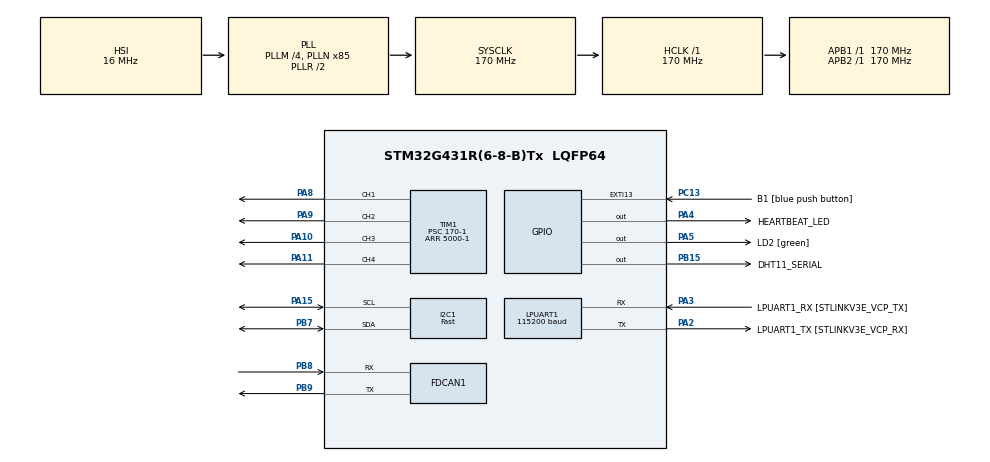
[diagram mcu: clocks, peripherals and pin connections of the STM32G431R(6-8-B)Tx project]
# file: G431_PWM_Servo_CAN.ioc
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FDCAN1.AutoRetransmission=ENABLE
FDCAN1.CalculateBaudRateNominal=125000
FDCAN1.CalculateTimeBitNominal=8000
FDCAN1.CalculateTimeQuantumNominal=100.0
FDCAN1.DataPrescaler=17
FDCAN1.DataSyncJumpWidth=4
FDCAN1.DataTimeSeg1=14
FDCAN1.DataTimeSeg2=5
FDCAN1.NominalPrescaler=17
FDCAN1.NominalSyncJumpWidth=16
FDCAN1.NominalTimeSeg1=63
FDCAN1.NominalTimeSeg2=16
FDCAN1.StdFiltersNbr=2
FDCAN1.TransmitPause=ENABLE
I2C1.I2C_Speed_Mode=I2C_Fast
I2C1.Timing=0x10802D9B
LPUART1.BaudRate=115200
LPUART1.WordLength=UART_WORDLENGTH_8B
Mcu.Family=STM32G4
Mcu.Name=STM32G431R(6-8-B)Tx
Mcu.Package=LQFP64
NVIC.FDCAN1_IT0_IRQn=true\:0\:0\:false\:false\:true\:true\:true\:true
NVIC.PriorityGroup=NVIC_PRIORITYGROUP_4
NVIC.TIM2_IRQn=true\:0\:0\:false\:false\:true\:true\:true\:true
NVIC.TIM6_DAC_IRQn=true\:0\:0\:true\:false\:true\:true\:true\:true
NVIC.TIM7_IRQn=true\:0\:0\:true\:false\:true\:true\:true\:true
PA10.Signal=S_TIM1_CH3
PA11.Signal=S_TIM1_CH4
PA13.GPIO_Label=T_SWDIO
PA13.Mode=Serial_Wire
PA13.Signal=SYS_JTMS-SWDIO
PA14.GPIO_Label=T_SWCLK
PA14.Mode=Serial_Wire
PA14.Signal=SYS_JTCK-SWCLK
PA15.Mode=I2C
PA15.Signal=I2C1_SCL
PA2.GPIO_Label=LPUART1_TX [STLINKV3E_VCP_RX]
PA2.Mode=Asynchronous
PA2.Signal=LPUART1_TX
PA3.GPIO_Label=LPUART1_RX [STLINKV3E_VCP_TX]
PA3.Mode=Asynchronous
PA3.Signal=LPUART1_RX
PA4.GPIO_Label=HEARTBEAT_LED
PA4.Signal=GPIO_Output
PA5.GPIO_Label=LD2 [green]
PA5.Signal=GPIO_Output
PA8.Signal=S_TIM1_CH1
PA9.Signal=S_TIM1_CH2
PB15.GPIO_Label=DHT11_SERIAL
PB15.GPIO_PuPd=GPIO_PULLUP
PB15.Signal=GPIO_Output
PB3.GPIO_Label=T_SWO
PB3.Signal=SYS_JTDO-SWO
PB7.Mode=I2C
PB7.Signal=I2C1_SDA
PB8-BOOT0.Mode=FDCAN_Activate
PB8-BOOT0.Signal=FDCAN1_RX
PB9.Mode=FDCAN_Activate
PB9.Signal=FDCAN1_TX
PC13.GPIO_Label=B1 [blue push button]
PC13.Signal=GPXTI13
ProjectManager.HeapSize=0x200
ProjectManager.StackSize=0x400
ProjectManager.TargetToolchain=STM32CubeIDE
RCC.ADC12Freq_Value=170000000
RCC.AHBFreq_Value=170000000
RCC.APB1Freq_Value=170000000
RCC.APB1TimFreq_Value=170000000
RCC.APB2Freq_Value=170000000
RCC.APB2TimFreq_Value=170000000
RCC.CortexFreq_Value=170000000
RCC.EXTERNAL_CLOCK_VALUE=12288000
RCC.HCLKFreq_Value=170000000
RCC.HSE_VALUE=24000000
RCC.HSI48_VALUE=48000000
RCC.HSI_VALUE=16000000
RCC.LSE_VALUE=32768
RCC.PLLM=RCC_PLLM_DIV4
RCC.PLLN=85
RCC.RTCClockSelection=RCC_RTCCLKSOURCE_LSE
RCC.SYSCLKFreq_VALUE=170000000
RCC.SYSCLKSource=RCC_SYSCLKSOURCE_PLLCLK
RCC.USBFreq_Value=170000000
RCC.VCOOutputFreq_Value=340000000
SH.S_TIM1_CH1.0=TIM1_CH1,PWM Generation1 CH1
SH.S_TIM1_CH2.0=TIM1_CH2,PWM Generation2 CH2
SH.S_TIM1_CH3.0=TIM1_CH3,PWM Generation3 CH3
SH.S_TIM1_CH4.0=TIM1_CH4,PWM Generation4 CH4
TIM1.Channel-PWM\ Generation1\ CH1=TIM_CHANNEL_1
TIM1.Channel-PWM\ Generation2\ CH2=TIM_CHANNEL_2
TIM1.Channel-PWM\ Generation3\ CH3=TIM_CHANNEL_3
TIM1.Channel-PWM\ Generation4\ CH4=TIM_CHANNEL_4
TIM1.PeriodNoDither=5000-1
TIM1.Prescaler=170-1
TIM2.AutoReloadPreload=TIM_AUTORELOAD_PRELOAD_DISABLE
TIM2.PeriodNoDither=2750000-1
TIM2.Prescaler=170-1
TIM4.Prescaler=170-1
TIM6.PeriodNoDither=3000-1
TIM6.Prescaler=170-1
TIM7.PeriodNoDither=1500-1
TIM7.Prescaler=170-1
VP_CORDIC_VS_CORDIC.Mode=CORDIC_Activate
VP_SYS_VS_DBSignals.Mode=DisableDeadBatterySignals
VP_TIM1_VS_ClockSourceINT.Mode=Internal
VP_TIM2_VS_ClockSourceINT.Mode=Internal
VP_TIM4_VS_ClockSourceINT.Mode=Internal
VP_TIM6_VS_ClockSourceINT.Mode=Enable_Timer
VP_TIM7_VS_ClockSourceINT.Mode=Enable_Timer
board=NUCLEO-G431RB

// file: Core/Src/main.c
/* USER CODE BEGIN Header */
/**
  ******************************************************************************
  * @file           : main.c
  * @brief          : Main program body
  ******************************************************************************
  * @attention
  *
  * Copyright (c) 2023 STMicroelectronics.
  * All rights reserved.
  *
  * This software is licensed under terms that can be found in the LICENSE file
  * in the root directory of this software component.
  * If no LICENSE file comes with this software, it is provided AS-IS.
  *
  ******************************************************************************
  */
/* USER CODE END Header */
#include "main.h"

/* USER CODE BEGIN Includes */
#include "BMP180.h"
#include "dht11.h"
#include <math.h>
#include <stdbool.h>
#include <stdio.h>
#include <string.h>
/* USER CODE END Includes */

/* USER CODE BEGIN PD */
#define SEGMENT_BASE_CAN_ID 0x10

// -= Body Segments =-
// 12.5f for horizontal servos
// 25.0f for vertical servos

// -= Head Segment =-
// 30.0f for horizontal servos
// 30.0f for vertical servos
#if SEGMENT_BASE_CAN_ID == 0x10
#define HORIZONTAL_STRIDE_AMPLITUDE 30.0f
#define VERTICAL_STRIDE_AMPLITUDE 30.0f
#elif SEGMENT_BASE_CAN_ID == 0x50
#define HORIZONTAL_STRIDE_AMPLITUDE 30.0f
#define VERTICAL_STRIDE_AMPLITUDE 30.0f
#else
#define HORIZONTAL_STRIDE_AMPLITUDE 12.5f
#define VERTICAL_STRIDE_AMPLITUDE 25.0f
#endif

#define SERVO_OFFSET_ARRAY_LENGTH 4

#define ENABLE_LINEAR_SLEW

// Define offset array based on CAN ID
#if SEGMENT_BASE_CAN_ID == 0x10
// Homes for vertical servos (0x11 and 0x13) on head segment offset by 10 degrees to prop up head
int8_t servo_home_offsets[SERVO_OFFSET_ARRAY_LENGTH] = {0, 10, 15, -15};
#elif SEGMENT_BASE_CAN_ID == 0x20
int8_t servo_home_offsets[SERVO_OFFSET_ARRAY_LENGTH] = {5, -10, 0, 0};
#elif SEGMENT_BASE_CAN_ID == 0x30
int8_t servo_home_offsets[SERVO_OFFSET_ARRAY_LENGTH] = {45, 5, 5, 0};
#elif SEGMENT_BASE_CAN_ID == 0x40
int8_t servo_home_offsets[SERVO_OFFSET_ARRAY_LENGTH] = {0, -25, 65, -5};
#elif SEGMENT_BASE_CAN_ID == 0x50
int8_t servo_home_offsets[SERVO_OFFSET_ARRAY_LENGTH] = {-45, -20, 45, -45};
#endif

#define PI 3.1415926535897932384626433

#define q31_to_f32(x) ldexp((int32_t) x, -31)

#define MAX(x,y) (x > y) ? x : y
/* USER CODE END PD */

CORDIC_HandleTypeDef hcordic;

FDCAN_HandleTypeDef hfdcan1;

I2C_HandleTypeDef hi2c1;

UART_HandleTypeDef hlpuart1;

TIM_HandleTypeDef htim1;
TIM_HandleTypeDef htim2;
TIM_HandleTypeDef htim4;
TIM_HandleTypeDef htim6;
TIM_HandleTypeDef htim7;

/* USER CODE BEGIN PV */
// 120 degree phase difference between each segment
uint16_t phaseAngle = 0 + 120 * ((SEGMENT_BASE_CAN_ID >> 4) - 1);

uint16_t targetServoPWMAngle[4];
bool saveWavePositions = false;

FDCAN_RxHeaderTypeDef rxHeader;
FDCAN_TxHeaderTypeDef txHeader;
uint8_t rxData[8];
uint8_t txData[8];

uint8_t UARTTxBuffer[30];

const peripheralType connectedPeripheral = PERIPHERAL_NONE;

volatile bool receivedRequestForPeripheralData = false;
/* USER CODE END PV */

void SystemClock_Config(void);
static void MX_GPIO_Init(void);
static void MX_LPUART1_UART_Init(void);
static void MX_FDCAN1_Init(void);
static void MX_TIM1_Init(void);
static void MX_CORDIC_Init(void);
static void MX_TIM6_Init(void);
static void MX_TIM7_Init(void);
static void MX_TIM4_Init(void);
static void MX_I2C1_Init(void);
static void MX_TIM2_Init(void);
/* USER CODE BEGIN PFP */
uint32_t degreesToPWM(float degrees);
uint16_t speedToWaveTimerPeriod(int8_t speed);
/* USER CODE END PFP */

/* USER CODE BEGIN 0 */
// Converts a 32-bit float to a q1.31 notation int
static inline int f32_to_q31(double input)
{
	const float Q31_MAX_F = 0x0.FFFFFFp0F;
	const float Q31_MIN_F = -1.0F;
	return (int)roundf(scalbnf(fmaxf(fminf(input, Q31_MAX_F), Q31_MIN_F), 31));
}

// Computes the sin of x in radians
static inline float cordic_q31_sinf(float x)
{
	CORDIC_ConfigTypeDef sConfig;
	int32_t input_q31 = f32_to_q31(fmod(x, 2.0f * PI) / (2.0f * PI)) << 1;
	int32_t output_q31;

	sConfig.Function = CORDIC_FUNCTION_SINE;
	sConfig.Precision = CORDIC_PRECISION_6CYCLES;
	sConfig.Scale = CORDIC_SCALE_0;
	sConfig.NbWrite = CORDIC_NBWRITE_1;
	sConfig.NbRead= CORDIC_NBREAD_1;
	sConfig.InSize = CORDIC_INSIZE_32BITS;
	sConfig.OutSize = CORDIC_OUTSIZE_32BITS;
	HAL_CORDIC_Configure(&hcordic, &sConfig);
	HAL_CORDIC_CalculateZO(&hcordic, &input_q31, &output_q31, 1, 0);

	return q31_to_f32(output_q31);
}

// Computes the cos of x in radians
static inline float cordic_q31_cosf(float x)
{
	CORDIC_ConfigTypeDef sConfig;
	int32_t input_q31 = f32_to_q31(fmod(x, 2.0f * PI) / (2.0f * PI)) << 1;
	int32_t output_q31;

	sConfig.Function = CORDIC_FUNCTION_COSINE;
	sConfig.Precision = CORDIC_PRECISION_6CYCLES;
	sConfig.Scale = CORDIC_SCALE_0;
	sConfig.NbWrite = CORDIC_NBWRITE_1;
	sConfig.NbRead= CORDIC_NBREAD_1;
	sConfig.InSize = CORDIC_INSIZE_32BITS;
	sConfig.OutSize = CORDIC_OUTSIZE_32BITS;
	HAL_CORDIC_Configure(&hcordic, &sConfig);
	HAL_CORDIC_CalculateZO(&hcordic, &input_q31, &output_q31, 1, 0);

	return q31_to_f32(output_q31);
}

void HAL_FDCAN_RxFifo0Callback(FDCAN_HandleTypeDef *hfdcan, uint32_t RxFifo0ITs)
{
	// Check for new messages
	if((RxFifo0ITs & FDCAN_IT_RX_FIFO0_NEW_MESSAGE) != RESET)
	{
		// Retrieve message
		if(HAL_FDCAN_GetRxMessage(hfdcan, FDCAN_RX_FIFO0, &rxHeader, rxData) != HAL_OK)
		{
			// Don't parse corrupted messages
			return;
		}

		// Check header length
		// Will likely need to be converted to a switch statement as more commands are implemented
		if(rxHeader.DataLength == FDCAN_DLC_BYTES_2)
		{
			// Stop metachronal timer if necessary
			HAL_TIM_Base_Stop_IT(&htim6);

#ifdef ENABLE_LINEAR_SLEW
			// Only save positions if the last command used the metachronal wave
			if(saveWavePositions)
			{
				saveWavePositions = false;
				// Use current positions in metachronal wave as targets to maintain position
				targetServoPWMAngle[0] = TIM1->CCR1;
				targetServoPWMAngle[1] = TIM1->CCR2;
				targetServoPWMAngle[2] = TIM1->CCR3;
				targetServoPWMAngle[3] = TIM1->CCR4;
			}
#endif

			// Get angle from message
			uint16_t tmp = 0;

			tmp += rxData[0];
			tmp <<= 8;
			tmp += rxData[1];

			// Extract servo number from LSB of identifier
			uint8_t servoNumber = rxHeader.Identifier & 0x00F;

#ifdef ENABLE_LINEAR_SLEW
			uint16_t tmpTargetValue = degreesToPWM(tmp + servo_home_offsets[servoNumber]);

			// Directly set PWM value of servo to target value if target is 0
			// Functionally, this skips linear slew if the servo has not been addressed since last power on
			// This fixes an issue where the servo would jerk towards zero as it linearly slewed from 0 degrees
				// to the target when set to a non-zero position after first power on.
			if(targetServoPWMAngle[servoNumber] == 0)
			{
				switch(servoNumber)
				{
					case 0x0:
						TIM1->CCR1 = tmpTargetValue;
						break;
					case 0x1:
						TIM1->CCR2 = tmpTargetValue;
						break;
					case 0x2:
						TIM1->CCR3 = tmpTargetValue;
						break;
					case 0x3:
						TIM1->CCR4 = tmpTargetValue;
						break;
				}
			}

			targetServoPWMAngle[servoNumber] = tmpTargetValue;

			// Start linear slew timer
			HAL_TIM_Base_Start_IT(&htim7);
#else
			switch(servoNumber)
			{
				case 0x0:
					tmp += servo_home_offsets[0];
					TIM1->CCR1 = degreesToPWM(tmp);
					break;
				case 0x1:
					tmp += servo_home_offsets[1];
					TIM1->CCR2 = degreesToPWM(tmp);
					break;
				case 0x2:
					tmp += servo_home_offsets[2];
					TIM1->CCR3 = degreesToPWM(tmp);
					break;
				case 0x3:
					tmp += servo_home_offsets[3];
					TIM1->CCR4 = degreesToPWM(tmp);
					break;
			}
#endif

			HAL_GPIO_TogglePin(GPIOA, GPIO_PIN_5);
		}
		else if(rxHeader.DataLength == FDCAN_DLC_BYTES_1)
		{
			if(rxHeader.RxFrameType == FDCAN_DATA_FRAME)
			{
				// Stop metachronal wave when a single zero is received
				if(rxData[0] == 0)
				{
					HAL_TIM_Base_Stop_IT(&htim6);
				}
				else
				{
#ifdef ENABLE_LINEAR_SLEW
					// Stop linear slew timer
					HAL_TIM_Base_Stop_IT(&htim7);

					saveWavePositions = true;

					//TODO: If one or more individual servos have been moved, move all servos
						// to last position in wave before resuming using linear slew to reduce current spikes
						// This would fix an edge case where a current spike could be caused by many servos suddenly
						// jumping to their position in the metachronal wave when it is resumed.
						// Should only matter if a significant number of servos are moved from their position in the wave.
#endif

					// Update metachronal wave period
					TIM6->ARR = speedToWaveTimerPeriod((int8_t) rxData[0]);

					HAL_TIM_Base_Start_IT(&htim6);
				}

				HAL_GPIO_TogglePin(GPIOA, GPIO_PIN_5);
			}
			else if(rxHeader.RxFrameType == FDCAN_REMOTE_FRAME)
			{
				// Send heart beat response
				txData[0] = SEGMENT_BASE_CAN_ID;
				txHeader.DataLength = FDCAN_DLC_BYTES_1;
				HAL_FDCAN_AddMessageToTxFifoQ(&hfdcan1, &txHeader, txData);

				// Reset FDCAN watchdog
				HAL_TIM_Base_Stop_IT(&htim2);
				__HAL_TIM_SET_COUNTER(&htim2, 1);
				HAL_TIM_Base_Start_IT(&htim2);

				HAL_GPIO_TogglePin(HEARTBEAT_LED_GPIO_Port, HEARTBEAT_LED_Pin);
			}
		}
		// Sensor data request
		else if(rxHeader.DataLength == FDCAN_DLC_BYTES_8 && rxHeader.RxFrameType == FDCAN_REMOTE_FRAME)
		{
			// Specify connected peripheral in first byte
			txData[0] = connectedPeripheral;

			// Send response based on connected peripheral
			switch(connectedPeripheral)
			{
				case PERIPHERAL_NONE:
					txHeader.DataLength = FDCAN_DLC_BYTES_8;
					HAL_FDCAN_AddMessageToTxFifoQ(&hfdcan1, &txHeader, txData);
					break;
				case PERIPHERAL_TEMP_HUMIDITY_DHT11:
					DHT11_CancelOperation();
					receivedRequestForPeripheralData = true;
					break;
				// TODO: Add non-blocking modes to BMP180 library
				case PERIPHERAL_TEMP_PRESSURE_ALTITUDE_BMP180:
					receivedRequestForPeripheralData = true;
					break;
				//TODO: Add support for more peripherals
			}
		}

		// Re-activate message notifications
		// HAL disables them when a message is received, so they need to be reactivated after every message
		if(HAL_FDCAN_ActivateNotification(hfdcan, FDCAN_IT_RX_FIFO0_NEW_MESSAGE, 0) != HAL_OK)
		{
			Error_Handler();
		}
	}
}

uint32_t degreesToPWM(float degrees)
{
	// Validate range
	if(degrees < 0)
	{
		degrees = 0.0f;
	}
	else if(degrees > 270)
	{
		degrees = 270.0f;
	}

	// newValue = (-1 if flipped, 1 if not) * oldValue * (newRange / oldRange) + newRangeOffset
	return ((float) degrees) * (2000.0f / 270.0f) + 500;
}

uint16_t speedToWaveTimerPeriod(int8_t speed)
{
	if(speed <= 0)
	{
		return 0;
	}

	// newValue = (-1 if flipped, 1 if not) * oldValue * (newRange / oldRange) + newRangeOffset
	return -1 * ((int8_t) speed) * (7000.0 / 127.0) + 10000;
}

void HAL_TIM_PeriodElapsedCallback(TIM_HandleTypeDef* htim)
{
	if(htim == &htim6)
	{
		double radian = 0.0f;
		float cosResult = 0.0f;
		float sinResult = 0.0f;

		phaseAngle++;
		phaseAngle %= 360;

		// Convert degrees to radians
		radian = (double)(phaseAngle) * 2.0 * PI / 360.0;

		cosResult = cordic_q31_cosf(radian);
		sinResult = cordic_q31_sinf(radian);

#if SEGMENT_BASE_CAN_ID == 0x10
		// TODO: Optimize these assignments to avoid repeated computation
		// Right horizontal servo
		TIM1->CCR1 = degreesToPWM(floor(cosResult * HORIZONTAL_STRIDE_AMPLITUDE) + 135.0f + 17.5f + servo_home_offsets[0]);
		// Right vertical servo
		TIM1->CCR2 = degreesToPWM(floor(sinResult * VERTICAL_STRIDE_AMPLITUDE) + 135.0f + servo_home_offsets[1]);
		// Left horizontal servo
		TIM1->CCR3 = degreesToPWM(floor(cosResult * HORIZONTAL_STRIDE_AMPLITUDE) + 135.0f - 17.5f + servo_home_offsets[2]);
		// Left vertical servo
		TIM1->CCR4 = degreesToPWM(floor(sinResult * VERTICAL_STRIDE_AMPLITUDE) + 135.0f + servo_home_offsets[3]);
#elif SEGMENT_BASE_CAN_ID == 0x50
		// TODO: Optimize these assignments to avoid repeated computation
		// Right horizontal servo
		TIM1->CCR1 = degreesToPWM(floor(cosResult * HORIZONTAL_STRIDE_AMPLITUDE) + 135.0f - 17.5f + servo_home_offsets[0]);
		// Right vertical servo
		TIM1->CCR2 = degreesToPWM(floor(sinResult * VERTICAL_STRIDE_AMPLITUDE) + 135.0f + servo_home_offsets[1]);
		// Left horizontal servo
		TIM1->CCR3 = degreesToPWM(floor(cosResult * HORIZONTAL_STRIDE_AMPLITUDE) + 135.0f + 17.5f + servo_home_offsets[2]);
		// Left vertical servo
		TIM1->CCR4 = degreesToPWM(floor(sinResult * VERTICAL_STRIDE_AMPLITUDE) + 135.0f + servo_home_offsets[3]);
#else
		// TODO: Optimize these assignments to avoid repeated computation
		// Right horizontal servo
		TIM1->CCR1 = degreesToPWM(floor(cosResult * HORIZONTAL_STRIDE_AMPLITUDE) + 135.0f + servo_home_offsets[0]);
		// Right vertical servo
		TIM1->CCR2 = degreesToPWM(floor(sinResult * VERTICAL_STRIDE_AMPLITUDE) + 135.0f + servo_home_offsets[1]);
		// Left horizontal servo
		TIM1->CCR3 = degreesToPWM(floor(cosResult * HORIZONTAL_STRIDE_AMPLITUDE) + 135.0f + servo_home_offsets[2]);
		// Left vertical servo
		TIM1->CCR4 = degreesToPWM(floor(sinResult * VERTICAL_STRIDE_AMPLITUDE) + 135.0f + servo_home_offsets[3]);
#endif

//		// Quadrature mode
//		TIM1->CCR1 = degreesToPWM(floor(sinResult * 90.0f) + 90.0f);
//		TIM1->CCR2 = degreesToPWM(floor(cosResult * 90.0f) + 90.0f);
//		TIM1->CCR3 = degreesToPWM(floor(sinResult * -90.0f) + 90.0f);
//		TIM1->CCR4 = degreesToPWM(floor(cosResult * -90.0f) + 90.0f);
	}
#ifdef ENABLE_LINEAR_SLEW
	else if(htim == &htim7)
	{
		// Nudge the TIM1->CCRx registers towards their target values
		if(TIM1->CCR1 < targetServoPWMAngle[0])
		{
			TIM1->CCR1++;
		}
		else if(TIM1->CCR1 > targetServoPWMAngle[0])
		{
			TIM1->CCR1--;
		}

		if(TIM1->CCR2 < targetServoPWMAngle[1])
		{
			TIM1->CCR2++;
		}
		else if(TIM1->CCR2 > targetServoPWMAngle[1])
		{
			TIM1->CCR2--;
		}

		if(TIM1->CCR3 < targetServoPWMAngle[2])
		{
			TIM1->CCR3++;
		}
		else if(TIM1->CCR3 > targetServoPWMAngle[2])
		{
			TIM1->CCR3--;
		}

		if(TIM1->CCR4 < targetServoPWMAngle[3])
		{
			TIM1->CCR4++;
		}
		else if(TIM1->CCR4 > targetServoPWMAngle[3])
		{
			TIM1->CCR4--;
		}
	}
#endif
	// FDCAN watchdog timer
	else if(htim == &htim2)
	{
		HAL_GPIO_TogglePin(LD2_GPIO_Port, LD2_Pin);

		// Reset FDCAN interface
		HAL_FDCAN_Stop(&hfdcan1);

		// Might not need this
		MX_FDCAN1_Init();

		HAL_FDCAN_Start(&hfdcan1);
		HAL_FDCAN_ActivateNotification(&hfdcan1, FDCAN_IT_RX_FIFO0_NEW_MESSAGE, 0);
	}
}
/* USER CODE END 0 */

int main(void)
{

  /* MCU Configuration--------------------------------------------------------*/

  /* Reset of all peripherals, Initializes the Flash interface and the Systick. */
  HAL_Init();

  /* Configure the system clock */
  SystemClock_Config();

  /* Initialize all configured peripherals */
  MX_GPIO_Init();
  MX_LPUART1_UART_Init();
  MX_FDCAN1_Init();
  MX_TIM1_Init();
  MX_CORDIC_Init();
  MX_TIM6_Init();
  MX_TIM7_Init();
  MX_TIM4_Init();
  MX_I2C1_Init();
  MX_TIM2_Init();
  /* USER CODE BEGIN 2 */

  // Initialize PWM to 0
  // This should be zero because the servo will interpret this as no signal
  	  // and stay where it is until it is changed to a valid (non-zero) value
  TIM1->CCR1 = 0;
  TIM1->CCR2 = 0;
  TIM1->CCR3 = 0;
  TIM1->CCR4 = 0;

  // Same with the target values
  // Initializing them to the home position (135 degrees) doesn't work
	  // because setting the position of one motor will suddenly cause all of them
	  // to move at once if it is the first command received since last power on
  targetServoPWMAngle[0] = 0;
  targetServoPWMAngle[1] = 0;
  targetServoPWMAngle[2] = 0;
  targetServoPWMAngle[3] = 0;

  // Start servo PWM
  HAL_TIM_PWM_Start(&htim1, TIM_CHANNEL_1);
  HAL_TIM_PWM_Start(&htim1, TIM_CHANNEL_2);
  HAL_TIM_PWM_Start(&htim1, TIM_CHANNEL_3);
  HAL_TIM_PWM_Start(&htim1, TIM_CHANNEL_4);

  // Metachronal update timer
//  HAL_TIM_Base_Start_IT(&htim6);

  // Initialize txHeader
  // NOTE: TxFrameType is NOT reset to FDCAN_DATA_FRAME. You will need to set the frame type
  	  	  // before every send if you change it anywhere other than the initialization below
  txHeader.Identifier = SEGMENT_BASE_CAN_ID;
  txHeader.IdType = FDCAN_STANDARD_ID;
  txHeader.TxFrameType = FDCAN_DATA_FRAME;
  // ************************************************************************
  // HEY YOU!! Changing this from FDCAN_ESI_ACTIVE to FDCAN_ESI_PASSIVE might be the solution to the interface freezing
  // Research this bit field before changing it!
  // HAL_FDCAN_EnableTxDelay might also be worth exploring
  // ************************************************************************
  txHeader.ErrorStateIndicator = FDCAN_ESI_ACTIVE;
  txHeader.BitRateSwitch = FDCAN_BRS_OFF;
  txHeader.FDFormat = FDCAN_CLASSIC_CAN;
  txHeader.TxEventFifoControl = FDCAN_NO_TX_EVENTS;
  txHeader.MessageMarker = 0;

  // Start delay timer for DHT11
  HAL_TIM_Base_Start(&htim4);

  // Read calibration data from BMP180 sensor if connected
  if(connectedPeripheral == PERIPHERAL_TEMP_PRESSURE_ALTITUDE_BMP180)
  {
	  BMP180_Start();
  }

  HAL_FDCAN_Start(&hfdcan1);
  HAL_FDCAN_ActivateNotification(&hfdcan1, FDCAN_IT_RX_FIFO0_NEW_MESSAGE, 0);

  // Start FDCAN watchdog timer
  // The interface frequently gets stuck in the "busy" state, so this lets us know when to reset it
  HAL_TIM_Base_Start_IT(&htim2);

  /* USER CODE END 2 */

  /* Infinite loop */
  /* USER CODE BEGIN WHILE */
  while (1)
  {
	  // Add conditions for additional peripherals
	  if(receivedRequestForPeripheralData)
	  {
		switch(connectedPeripheral)
		{
			case PERIPHERAL_NONE:
				receivedRequestForPeripheralData = false;
				break;
			case PERIPHERAL_TEMP_HUMIDITY_DHT11:
				// FDCAN interrupts could be disabled here too,
				// but that risks creating a situation where the MCU
				// is stuck trying to read data from the sensor and is unable
				// to be "unstuck" by triggering another interrupt.
				HAL_NVIC_DisableIRQ(TIM6_DAC_IRQn);
				HAL_NVIC_DisableIRQ(TIM7_IRQn);
				// ****************************************
				// CRITICAL TASK -- MUST NOT BE INTERRUPTED
				dht11DataBytes result = DHT11_GetDataBytes();
				// ****************************************
				HAL_NVIC_EnableIRQ(TIM6_DAC_IRQn);
				HAL_NVIC_EnableIRQ(TIM7_IRQn);

				txData[1] = result.humidityIntegerByte;
				txData[2] = result.humidityDecimalByte;
				txData[3] = result.temperatureIntegerByte;
				txData[4] = result.temperatureDecimalByte;
				txData[5] = result.checksum;

				// Stop trying if checksum passes
				if(txData[5] == txData[1] + txData[2] + txData[3] + txData[4])
				{
					receivedRequestForPeripheralData = false;

					txHeader.DataLength = FDCAN_DLC_BYTES_8;
					HAL_FDCAN_AddMessageToTxFifoQ(&hfdcan1, &txHeader, txData);
					HAL_GPIO_TogglePin(GPIOA, GPIO_PIN_5);
				}
				else
				{
					HAL_Delay(500);
				}
				break;

			// TODO: Report temperature and altitude from BMP180
			// Maybe add a byte between the sensor type and reported value to indicate
				// which value from the sensor is being reported
			case PERIPHERAL_TEMP_PRESSURE_ALTITUDE_BMP180:
				BMP180_GetTemp(); // Needed for temperature compensation for pressure calculation
				uint32_t pressure = BMP180_GetPress(0);
				memcpy(&(txData[1]), &pressure, sizeof(uint32_t));
				txHeader.DataLength = FDCAN_DLC_BYTES_8;

				receivedRequestForPeripheralData = false;
				HAL_FDCAN_AddMessageToTxFifoQ(&hfdcan1, &txHeader, txData);
				HAL_GPIO_TogglePin(GPIOA, GPIO_PIN_5);
				break;
		}
	  }
    /* USER CODE END WHILE */

  }
}

void SystemClock_Config(void)
{
  RCC_OscInitTypeDef RCC_OscInitStruct = {0};
  RCC_ClkInitTypeDef RCC_ClkInitStruct = {0};

  /** Configure the main internal regulator output voltage
  */
  HAL_PWREx_ControlVoltageScaling(PWR_REGULATOR_VOLTAGE_SCALE1_BOOST);

  /** Initializes the RCC Oscillators according to the specified parameters
  * in the RCC_OscInitTypeDef structure.
  */
  RCC_OscInitStruct.OscillatorType = RCC_OSCILLATORTYPE_HSI;
  RCC_OscInitStruct.HSIState = RCC_HSI_ON;
  RCC_OscInitStruct.HSICalibrationValue = RCC_HSICALIBRATION_DEFAULT;
  RCC_OscInitStruct.PLL.PLLState = RCC_PLL_ON;
  RCC_OscInitStruct.PLL.PLLSource = RCC_PLLSOURCE_HSI;
  RCC_OscInitStruct.PLL.PLLM = RCC_PLLM_DIV4;
  RCC_OscInitStruct.PLL.PLLN = 85;
  RCC_OscInitStruct.PLL.PLLP = RCC_PLLP_DIV2;
  RCC_OscInitStruct.PLL.PLLQ = RCC_PLLQ_DIV2;
  RCC_OscInitStruct.PLL.PLLR = RCC_PLLR_DIV2;
  if (HAL_RCC_OscConfig(&RCC_OscInitStruct) != HAL_OK)
  {
    Error_Handler();
  }

  /** Initializes the CPU, AHB and APB buses clocks
  */
  RCC_ClkInitStruct.ClockType = RCC_CLOCKTYPE_HCLK|RCC_CLOCKTYPE_SYSCLK
                              |RCC_CLOCKTYPE_PCLK1|RCC_CLOCKTYPE_PCLK2;
  RCC_ClkInitStruct.SYSCLKSource = RCC_SYSCLKSOURCE_PLLCLK;
  RCC_ClkInitStruct.AHBCLKDivider = RCC_SYSCLK_DIV1;
  RCC_ClkInitStruct.APB1CLKDivider = RCC_HCLK_DIV1;
  RCC_ClkInitStruct.APB2CLKDivider = RCC_HCLK_DIV1;

  if (HAL_RCC_ClockConfig(&RCC_ClkInitStruct, FLASH_LATENCY_4) != HAL_OK)
  {
    Error_Handler();
  }
}

static void MX_CORDIC_Init(void)
{

  hcordic.Instance = CORDIC;
  if (HAL_CORDIC_Init(&hcordic) != HAL_OK)
  {
    Error_Handler();
  }

}

static void MX_FDCAN1_Init(void)
{

  hfdcan1.Instance = FDCAN1;
  hfdcan1.Init.ClockDivider = FDCAN_CLOCK_DIV1;
  hfdcan1.Init.FrameFormat = FDCAN_FRAME_CLASSIC;
  hfdcan1.Init.Mode = FDCAN_MODE_NORMAL;
  hfdcan1.Init.AutoRetransmission = ENABLE;
  hfdcan1.Init.TransmitPause = ENABLE;
  hfdcan1.Init.ProtocolException = DISABLE;
  hfdcan1.Init.NominalPrescaler = 17;
  hfdcan1.Init.NominalSyncJumpWidth = 16;
  hfdcan1.Init.NominalTimeSeg1 = 63;
  hfdcan1.Init.NominalTimeSeg2 = 16;
  hfdcan1.Init.DataPrescaler = 17;
  hfdcan1.Init.DataSyncJumpWidth = 4;
  hfdcan1.Init.DataTimeSeg1 = 14;
  hfdcan1.Init.DataTimeSeg2 = 5;
  hfdcan1.Init.StdFiltersNbr = 2;
  hfdcan1.Init.ExtFiltersNbr = 0;
  hfdcan1.Init.TxFifoQueueMode = FDCAN_TX_FIFO_OPERATION;
  if (HAL_FDCAN_Init(&hfdcan1) != HAL_OK)
  {
    Error_Handler();
  }
  /* USER CODE BEGIN FDCAN1_Init 2 */
  FDCAN_FilterTypeDef sFilterConfig;

  	// Filter out all messages not meant for this segment
    sFilterConfig.IdType = FDCAN_STANDARD_ID;
    sFilterConfig.FilterIndex = 0;
    sFilterConfig.FilterType = FDCAN_FILTER_MASK;
    sFilterConfig.FilterConfig = FDCAN_FILTER_TO_RXFIFO0;
    sFilterConfig.FilterID1 = SEGMENT_BASE_CAN_ID;
	sFilterConfig.FilterID2 = 0x7FC;

    if(HAL_FDCAN_ConfigFilter(&hfdcan1, &sFilterConfig) != HAL_OK)
    {
  	  Error_Handler();
    }

    // Accept messages from 0x7Fx (broadcast)
	sFilterConfig.IdType = FDCAN_STANDARD_ID;
	sFilterConfig.FilterIndex = 1;
	sFilterConfig.FilterType = FDCAN_FILTER_MASK;
	sFilterConfig.FilterConfig = FDCAN_FILTER_TO_RXFIFO0;
	sFilterConfig.FilterID1 = 0x7F0;
	sFilterConfig.FilterID2 = 0x7FC;

	if(HAL_FDCAN_ConfigFilter(&hfdcan1, &sFilterConfig) != HAL_OK)
	{
	  Error_Handler();
	}

    // ****************************************
	// Reject all packets not match by a filter
    // Both data and remote frames can be received
    // FILTERS WILL NOT REJECT PACKETS WITHOUT THIS LINE
    // ****************************************
    HAL_FDCAN_ConfigGlobalFilter(&hfdcan1, FDCAN_REJECT, FDCAN_REJECT, FDCAN_FILTER_REMOTE, FDCAN_REJECT_REMOTE);
  /* USER CODE END FDCAN1_Init 2 */

}

static void MX_I2C1_Init(void)
{

  hi2c1.Instance = I2C1;
  hi2c1.Init.Timing = 0x10802D9B;
  hi2c1.Init.OwnAddress1 = 0;
  hi2c1.Init.AddressingMode = I2C_ADDRESSINGMODE_7BIT;
  hi2c1.Init.DualAddressMode = I2C_DUALADDRESS_DISABLE;
  hi2c1.Init.OwnAddress2 = 0;
  hi2c1.Init.OwnAddress2Masks = I2C_OA2_NOMASK;
  hi2c1.Init.GeneralCallMode = I2C_GENERALCALL_DISABLE;
  hi2c1.Init.NoStretchMode = I2C_NOSTRETCH_DISABLE;
  if (HAL_I2C_Init(&hi2c1) != HAL_OK)
  {
    Error_Handler();
  }

  /** Configure Analogue filter
  */
  if (HAL_I2CEx_ConfigAnalogFilter(&hi2c1, I2C_ANALOGFILTER_ENABLE) != HAL_OK)
  {
    Error_Handler();
  }

  /** Configure Digital filter
  */
  if (HAL_I2CEx_ConfigDigitalFilter(&hi2c1, 0) != HAL_OK)
  {
    Error_Handler();
  }

}

static void MX_LPUART1_UART_Init(void)
{

  hlpuart1.Instance = LPUART1;
  hlpuart1.Init.BaudRate = 115200;
  hlpuart1.Init.WordLength = UART_WORDLENGTH_8B;
  hlpuart1.Init.StopBits = UART_STOPBITS_1;
  hlpuart1.Init.Parity = UART_PARITY_NONE;
  hlpuart1.Init.Mode = UART_MODE_TX_RX;
  hlpuart1.Init.HwFlowCtl = UART_HWCONTROL_NONE;
  hlpuart1.Init.OneBitSampling = UART_ONE_BIT_SAMPLE_DISABLE;
  hlpuart1.Init.ClockPrescaler = UART_PRESCALER_DIV1;
  hlpuart1.AdvancedInit.AdvFeatureInit = UART_ADVFEATURE_NO_INIT;
  if (HAL_UART_Init(&hlpuart1) != HAL_OK)
  {
    Error_Handler();
  }
  if (HAL_UARTEx_SetTxFifoThreshold(&hlpuart1, UART_TXFIFO_THRESHOLD_1_8) != HAL_OK)
  {
    Error_Handler();
  }
  if (HAL_UARTEx_SetRxFifoThreshold(&hlpuart1, UART_RXFIFO_THRESHOLD_1_8) != HAL_OK)
  {
    Error_Handler();
  }
  if (HAL_UARTEx_DisableFifoMode(&hlpuart1) != HAL_OK)
  {
    Error_Handler();
  }

}

static void MX_TIM1_Init(void)
{

  TIM_ClockConfigTypeDef sClockSourceConfig = {0};
  TIM_MasterConfigTypeDef sMasterConfig = {0};
  TIM_OC_InitTypeDef sConfigOC = {0};
  TIM_BreakDeadTimeConfigTypeDef sBreakDeadTimeConfig = {0};

  htim1.Instance = TIM1;
  htim1.Init.Prescaler = 170-1;
  htim1.Init.CounterMode = TIM_COUNTERMODE_UP;
  htim1.Init.Period = 4999;
  htim1.Init.ClockDivision = TIM_CLOCKDIVISION_DIV1;
  htim1.Init.RepetitionCounter = 0;
  htim1.Init.AutoReloadPreload = TIM_AUTORELOAD_PRELOAD_DISABLE;
  if (HAL_TIM_Base_Init(&htim1) != HAL_OK)
  {
    Error_Handler();
  }
  sClockSourceConfig.ClockSource = TIM_CLOCKSOURCE_INTERNAL;
  if (HAL_TIM_ConfigClockSource(&htim1, &sClockSourceConfig) != HAL_OK)
  {
    Error_Handler();
  }
  if (HAL_TIM_PWM_Init(&htim1) != HAL_OK)
  {
    Error_Handler();
  }
  sMasterConfig.MasterOutputTrigger = TIM_TRGO_RESET;
  sMasterConfig.MasterOutputTrigger2 = TIM_TRGO2_RESET;
  sMasterConfig.MasterSlaveMode = TIM_MASTERSLAVEMODE_DISABLE;
  if (HAL_TIMEx_MasterConfigSynchronization(&htim1, &sMasterConfig) != HAL_OK)
  {
    Error_Handler();
  }
  sConfigOC.OCMode = TIM_OCMODE_PWM1;
  sConfigOC.Pulse = 0;
  sConfigOC.OCPolarity = TIM_OCPOLARITY_HIGH;
  sConfigOC.OCNPolarity = TIM_OCNPOLARITY_HIGH;
  sConfigOC.OCFastMode = TIM_OCFAST_DISABLE;
  sConfigOC.OCIdleState = TIM_OCIDLESTATE_RESET;
  sConfigOC.OCNIdleState = TIM_OCNIDLESTATE_RESET;
  if (HAL_TIM_PWM_ConfigChannel(&htim1, &sConfigOC, TIM_CHANNEL_1) != HAL_OK)
  {
    Error_Handler();
  }
  if (HAL_TIM_PWM_ConfigChannel(&htim1, &sConfigOC, TIM_CHANNEL_2) != HAL_OK)
  {
    Error_Handler();
  }
  if (HAL_TIM_PWM_ConfigChannel(&htim1, &sConfigOC, TIM_CHANNEL_3) != HAL_OK)
  {
    Error_Handler();
  }
  if (HAL_TIM_PWM_ConfigChannel(&htim1, &sConfigOC, TIM_CHANNEL_4) != HAL_OK)
  {
    Error_Handler();
  }
  sBreakDeadTimeConfig.OffStateRunMode = TIM_OSSR_DISABLE;
  sBreakDeadTimeConfig.OffStateIDLEMode = TIM_OSSI_DISABLE;
  sBreakDeadTimeConfig.LockLevel = TIM_LOCKLEVEL_OFF;
  sBreakDeadTimeConfig.DeadTime = 0;
  sBreakDeadTimeConfig.BreakState = TIM_BREAK_DISABLE;
  sBreakDeadTimeConfig.BreakPolarity = TIM_BREAKPOLARITY_HIGH;
  sBreakDeadTimeConfig.BreakFilter = 0;
  sBreakDeadTimeConfig.BreakAFMode = TIM_BREAK_AFMODE_INPUT;
  sBreakDeadTimeConfig.Break2State = TIM_BREAK2_DISABLE;
  sBreakDeadTimeConfig.Break2Polarity = TIM_BREAK2POLARITY_HIGH;
  sBreakDeadTimeConfig.Break2Filter = 0;
  sBreakDeadTimeConfig.Break2AFMode = TIM_BREAK_AFMODE_INPUT;
  sBreakDeadTimeConfig.AutomaticOutput = TIM_AUTOMATICOUTPUT_DISABLE;
  if (HAL_TIMEx_ConfigBreakDeadTime(&htim1, &sBreakDeadTimeConfig) != HAL_OK)
  {
    Error_Handler();
  }
  HAL_TIM_MspPostInit(&htim1);

}

static void MX_TIM2_Init(void)
{

  TIM_ClockConfigTypeDef sClockSourceConfig = {0};
  TIM_MasterConfigTypeDef sMasterConfig = {0};

  htim2.Instance = TIM2;
  htim2.Init.Prescaler = 170-1;
  htim2.Init.CounterMode = TIM_COUNTERMODE_UP;
  htim2.Init.Period = 2749999;
  htim2.Init.ClockDivision = TIM_CLOCKDIVISION_DIV1;
  htim2.Init.AutoReloadPreload = TIM_AUTORELOAD_PRELOAD_DISABLE;
  if (HAL_TIM_Base_Init(&htim2) != HAL_OK)
  {
    Error_Handler();
  }
  sClockSourceConfig.ClockSource = TIM_CLOCKSOURCE_INTERNAL;
  if (HAL_TIM_ConfigClockSource(&htim2, &sClockSourceConfig) != HAL_OK)
  {
    Error_Handler();
  }
  sMasterConfig.MasterOutputTrigger = TIM_TRGO_RESET;
  sMasterConfig.MasterSlaveMode = TIM_MASTERSLAVEMODE_DISABLE;
  if (HAL_TIMEx_MasterConfigSynchronization(&htim2, &sMasterConfig) != HAL_OK)
  {
    Error_Handler();
  }

}

static void MX_TIM4_Init(void)
{

  TIM_ClockConfigTypeDef sClockSourceConfig = {0};
  TIM_MasterConfigTypeDef sMasterConfig = {0};

  htim4.Instance = TIM4;
  htim4.Init.Prescaler = 170-1;
  htim4.Init.CounterMode = TIM_COUNTERMODE_UP;
  htim4.Init.Period = 65535;
  htim4.Init.ClockDivision = TIM_CLOCKDIVISION_DIV1;
  htim4.Init.AutoReloadPreload = TIM_AUTORELOAD_PRELOAD_DISABLE;
  if (HAL_TIM_Base_Init(&htim4) != HAL_OK)
  {
    Error_Handler();
  }
  sClockSourceConfig.ClockSource = TIM_CLOCKSOURCE_INTERNAL;
  if (HAL_TIM_ConfigClockSource(&htim4, &sClockSourceConfig) != HAL_OK)
  {
    Error_Handler();
  }
  sMasterConfig.MasterOutputTrigger = TIM_TRGO_RESET;
  sMasterConfig.MasterSlaveMode = TIM_MASTERSLAVEMODE_DISABLE;
  if (HAL_TIMEx_MasterConfigSynchronization(&htim4, &sMasterConfig) != HAL_OK)
  {
    Error_Handler();
  }

}

static void MX_TIM6_Init(void)
{

  TIM_MasterConfigTypeDef sMasterConfig = {0};

  htim6.Instance = TIM6;
  htim6.Init.Prescaler = 170-1;
  htim6.Init.CounterMode = TIM_COUNTERMODE_UP;
  htim6.Init.Period = 2999;
  htim6.Init.AutoReloadPreload = TIM_AUTORELOAD_PRELOAD_DISABLE;
  if (HAL_TIM_Base_Init(&htim6) != HAL_OK)
  {
    Error_Handler();
  }
  sMasterConfig.MasterOutputTrigger = TIM_TRGO_RESET;
  sMasterConfig.MasterSlaveMode = TIM_MASTERSLAVEMODE_DISABLE;
  if (HAL_TIMEx_MasterConfigSynchronization(&htim6, &sMasterConfig) != HAL_OK)
  {
    Error_Handler();
  }

}

static void MX_TIM7_Init(void)
{

  TIM_MasterConfigTypeDef sMasterConfig = {0};

  htim7.Instance = TIM7;
  htim7.Init.Prescaler = 170-1;
  htim7.Init.CounterMode = TIM_COUNTERMODE_UP;
  htim7.Init.Period = 1499;
  htim7.Init.AutoReloadPreload = TIM_AUTORELOAD_PRELOAD_DISABLE;
  if (HAL_TIM_Base_Init(&htim7) != HAL_OK)
  {
    Error_Handler();
  }
  sMasterConfig.MasterOutputTrigger = TIM_TRGO_RESET;
  sMasterConfig.MasterSlaveMode = TIM_MASTERSLAVEMODE_DISABLE;
  if (HAL_TIMEx_MasterConfigSynchronization(&htim7, &sMasterConfig) != HAL_OK)
  {
    Error_Handler();
  }

}

static void MX_GPIO_Init(void)
{
  GPIO_InitTypeDef GPIO_InitStruct = {0};

  /* GPIO Ports Clock Enable */
  __HAL_RCC_GPIOC_CLK_ENABLE();
  __HAL_RCC_GPIOA_CLK_ENABLE();
  __HAL_RCC_GPIOB_CLK_ENABLE();

  /*Configure GPIO pin Output Level */
  HAL_GPIO_WritePin(GPIOA, HEARTBEAT_LED_Pin|LD2_Pin, GPIO_PIN_RESET);

  /*Configure GPIO pin Output Level */
  HAL_GPIO_WritePin(DHT11_SERIAL_GPIO_Port, DHT11_SERIAL_Pin, GPIO_PIN_RESET);

  /*Configure GPIO pin : B1_Pin */
  GPIO_InitStruct.Pin = B1_Pin;
  GPIO_InitStruct.Mode = GPIO_MODE_IT_RISING;
  GPIO_InitStruct.Pull = GPIO_NOPULL;
  HAL_GPIO_Init(B1_GPIO_Port, &GPIO_InitStruct);

  /*Configure GPIO pins : HEARTBEAT_LED_Pin LD2_Pin */
  GPIO_InitStruct.Pin = HEARTBEAT_LED_Pin|LD2_Pin;
  GPIO_InitStruct.Mode = GPIO_MODE_OUTPUT_PP;
  GPIO_InitStruct.Pull = GPIO_NOPULL;
  GPIO_InitStruct.Speed = GPIO_SPEED_FREQ_LOW;
  HAL_GPIO_Init(GPIOA, &GPIO_InitStruct);

  /*Configure GPIO pin : DHT11_SERIAL_Pin */
  GPIO_InitStruct.Pin = DHT11_SERIAL_Pin;
  GPIO_InitStruct.Mode = GPIO_MODE_OUTPUT_PP;
  GPIO_InitStruct.Pull = GPIO_PULLUP;
  GPIO_InitStruct.Speed = GPIO_SPEED_FREQ_LOW;
  HAL_GPIO_Init(DHT11_SERIAL_GPIO_Port, &GPIO_InitStruct);

}

void Error_Handler(void)
{
  __disable_irq();
  while (1)
  {
  }
}
